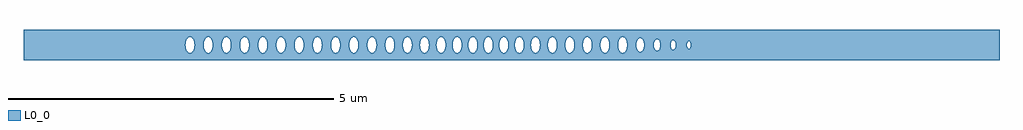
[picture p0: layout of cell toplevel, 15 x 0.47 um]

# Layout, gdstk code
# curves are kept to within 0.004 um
import gdstk
lib = gdstk.Library(unit=1e-6, precision=1e-09)
def P(c, l, *ps):  # polygons
    for p in ps: c.add(gdstk.Polygon(p, *l))
L0_0 = (0, 0)

toplevel = lib.new_cell('toplevel')
P(toplevel, L0_0, [(-4.441,-0.066),(-4.452,0.008),(-4.438,0.072),(-4.438,0.235),(-7.5,0.235),(-7.5,-0.016),(-5.011,-0.016),(-5.008,0.038),(-4.998,0.073),(-4.975,0.109),(-4.945,0.124),(-4.919,0.118),(-4.889,0.085),(-4.875,0.046),(-4.87,0),(-4.732,0),(-4.727,0.046),(-4.712,0.085),(-4.695,0.109),(-4.666,0.124),(-4.639,0.118),(-4.616,0.096),(-4.599,0.06),(-4.591,0.016),(-4.594,-0.038),(-4.604,-0.073),(-4.627,-0.109),(-4.657,-0.124),(-4.683,-0.118),(-4.706,-0.096),(-4.727,-0.046),(-4.732,0),(-4.87,0),(-4.875,-0.046),(-4.889,-0.085),(-4.907,-0.109),(-4.936,-0.124),(-4.963,-0.118),(-4.986,-0.096),(-5.003,-0.06),(-5.011,-0.016),(-7.5,-0.016),(-7.5,-0.235),(-4.438,-0.235)],
  [(-3.891,0.023),(-3.884,0.06),(-3.867,0.096),(-3.844,0.118),(-3.818,0.124),(-3.818,0.235),(-4.438,0.235),(-4.438,0.073),(-4.423,0.1),(-4.403,0.118),(-4.377,0.124),(-4.355,0.115),(-4.336,0.096),(-4.324,0.073),(-4.313,0.031),(-4.312,-0.016),(-4.172,-0.016),(-4.169,0.038),(-4.159,0.073),(-4.136,0.109),(-4.106,0.124),(-4.08,0.118),(-4.053,0.09),(-4.036,0.046),(-4.031,0.008),(-4.033,-0.031),(-4.047,-0.079),(-4.068,-0.109),(-4.097,-0.124),(-4.123,-0.118),(-4.147,-0.096),(-4.159,-0.073),(-4.172,-0.016),(-4.312,-0.016),(-4.32,-0.06),(-4.336,-0.096),(-4.355,-0.115),(-4.377,-0.124),(-4.395,-0.122),(-4.415,-0.109),(-4.438,-0.074),(-4.438,-0.235),(-3.818,-0.235),(-3.818,-0.124),(-3.835,-0.122),(-3.856,-0.109),(-3.879,-0.073),(-3.892,-0.016)],
  [(-3.331,0.031),(-3.308,0.096),(-3.276,0.122),(-3.249,0.122),(-3.229,0.109),(-3.201,0.06),(-3.201,0.235),(-3.818,0.235),(-3.818,0.124),(-3.788,0.109),(-3.771,0.085),(-3.756,0.046),(-3.752,-0.008),(-3.613,-0.008),(-3.611,0.031),(-3.597,0.079),(-3.576,0.109),(-3.547,0.124),(-3.521,0.118),(-3.497,0.096),(-3.485,0.073),(-3.472,0.016),(-3.475,-0.038),(-3.485,-0.073),(-3.508,-0.109),(-3.538,-0.124),(-3.564,-0.118),(-3.591,-0.09),(-3.608,-0.046),(-3.613,-0.008),(-3.752,-0.008),(-3.756,-0.046),(-3.777,-0.096),(-3.8,-0.118),(-3.818,-0.124),(-3.818,-0.235),(-3.201,-0.235),(-3.201,-0.06),(-3.218,-0.096),(-3.241,-0.118),(-3.267,-0.124),(-3.289,-0.115),(-3.308,-0.096),(-3.324,-0.06),(-3.333,-0.016)],
  [(-2.493,-0.023),(-2.492,0.235),(-3.201,0.235),(-3.201,0.059),(-3.193,0.023),(-3.193,-0.016),(-3.053,-0.016),(-3.05,0.038),(-3.04,0.073),(-3.017,0.109),(-2.987,0.124),(-2.961,0.118),(-2.938,0.096),(-2.917,0.046),(-2.913,-0.008),(-2.774,-0.008),(-2.769,0.046),(-2.758,0.079),(-2.737,0.109),(-2.708,0.124),(-2.681,0.118),(-2.658,0.096),(-2.641,0.06),(-2.633,0.016),(-2.636,-0.038),(-2.646,-0.073),(-2.669,-0.109),(-2.699,-0.124),(-2.725,-0.118),(-2.748,-0.096),(-2.765,-0.06),(-2.774,-0.008),(-2.913,-0.008),(-2.917,-0.046),(-2.938,-0.096),(-2.961,-0.118),(-2.978,-0.124),(-3.005,-0.118),(-3.028,-0.096),(-3.045,-0.06),(-3.053,-0.016),(-3.193,-0.016),(-3.201,-0.06),(-3.201,-0.235),(-2.492,-0.235)],
  [(-2.492,-0.235),(-1.907,-0.235),(-1.907,-0.105),(-1.929,-0.066),(-1.94,-0.008),(-1.931,0.06),(-1.907,0.105),(-1.907,0.235),(-2.492,0.235),(-2.492,0.031),(-2.481,0.073),(-2.465,0.1),(-2.445,0.118),(-2.419,0.124),(-2.39,0.109),(-2.369,0.079),(-2.356,0.038),(-2.354,-0.016),(-2.215,-0.016),(-2.212,0.038),(-2.196,0.085),(-2.171,0.115),(-2.14,0.124),(-2.111,0.109),(-2.093,0.085),(-2.079,0.046),(-2.074,0.008),(-2.076,-0.031),(-2.09,-0.079),(-2.111,-0.109),(-2.14,-0.124),(-2.166,-0.118),(-2.19,-0.096),(-2.202,-0.073),(-2.215,-0.016),(-2.354,-0.016),(-2.358,-0.046),(-2.375,-0.09),(-2.39,-0.109),(-2.419,-0.124),(-2.437,-0.122),(-2.461,-0.105),(-2.481,-0.073),(-2.492,-0.034)],
  [(-1.407,0.016),(-1.397,0.066),(-1.375,0.105),(-1.342,0.124),(-1.315,0.118),(-1.315,0.235),(-1.907,0.235),(-1.907,0.105),(-1.874,0.124),(-1.856,0.122),(-1.831,0.105),(-1.805,0.053),(-1.799,-0.008),(-1.67,-0.008),(-1.667,0.038),(-1.657,0.073),(-1.634,0.109),(-1.604,0.124),(-1.578,0.118),(-1.551,0.09),(-1.534,0.046),(-1.529,0.008),(-1.531,-0.031),(-1.545,-0.079),(-1.566,-0.109),(-1.595,-0.124),(-1.621,-0.118),(-1.645,-0.096),(-1.665,-0.046),(-1.67,-0.008),(-1.799,-0.008),(-1.812,-0.073),(-1.835,-0.109),(-1.856,-0.122),(-1.874,-0.124),(-1.907,-0.105),(-1.907,-0.235),(-1.315,-0.235),(-1.315,-0.118),(-1.35,-0.122),(-1.382,-0.096),(-1.403,-0.046)],
  [(-0.774,-0.06),(-0.787,-0.09),(-0.809,-0.115),(-0.831,-0.124),(-0.857,-0.118),(-0.89,-0.079),(-0.904,-0.031),(-0.906,0.008),(-0.901,0.046),(-0.887,0.085),(-0.869,0.109),(-0.84,0.124),(-0.822,0.122),(-0.801,0.109),(-0.778,0.073),(-0.767,0.031),(-0.767,0.235),(-1.315,0.235),(-1.315,0.118),(-1.292,0.096),(-1.275,0.06),(-1.267,-0.016),(-1.153,-0.016),(-1.15,0.038),(-1.14,0.073),(-1.117,0.109),(-1.087,0.124),(-1.061,0.118),(-1.034,0.09),(-1.017,0.046),(-1.012,0.008),(-1.014,-0.031),(-1.028,-0.079),(-1.049,-0.109),(-1.078,-0.124),(-1.104,-0.118),(-1.128,-0.096),(-1.14,-0.073),(-1.153,-0.016),(-1.267,-0.016),(-1.28,-0.073),(-1.292,-0.096),(-1.315,-0.118),(-1.315,-0.235),(-0.767,-0.235),(-0.767,-0.034)],
  [(-0.767,-0.031),(-0.767,-0.235),(-0.178,-0.235),(-0.178,-0.066),(-0.189,-0.016),(-0.187,0.031),(-0.178,0.066),(-0.178,0.235),(-0.767,0.235),(-0.766,-0.016),(-0.664,-0.016),(-0.661,0.038),(-0.651,0.073),(-0.628,0.109),(-0.598,0.124),(-0.572,0.118),(-0.543,0.085),(-0.528,0.046),(-0.524,-0.016),(-0.426,-0.016),(-0.423,0.038),(-0.407,0.085),(-0.378,0.118),(-0.351,0.124),(-0.322,0.109),(-0.304,0.085),(-0.29,0.046),(-0.285,0),(-0.29,-0.046),(-0.304,-0.085),(-0.338,-0.12),(-0.369,-0.122),(-0.394,-0.105),(-0.418,-0.06),(-0.426,-0.016),(-0.524,-0.016),(-0.532,-0.06),(-0.549,-0.096),(-0.572,-0.118),(-0.59,-0.124),(-0.616,-0.118),(-0.639,-0.096),(-0.656,-0.06),(-0.664,-0.016),(-0.766,-0.016)],
  [(-0.17,0.085),(-0.14,0.118),(-0.123,0.124),(-0.105,0.122),(-0.081,0.105),(-0.064,0.079),(-0.05,0.031),(-0.049,-0.016),(0.051,-0.016),(0.054,0.038),(0.07,0.085),(0.099,0.118),(0.126,0.124),(0.155,0.109),(0.173,0.085),(0.187,0.046),(0.192,0),(0.187,-0.046),(0.173,-0.085),(0.155,-0.109),(0.126,-0.124),(0.099,-0.118),(0.076,-0.096),(0.059,-0.06),(0.051,-0.016),(-0.049,-0.016),(-0.067,-0.085),(-0.085,-0.109),(-0.105,-0.122),(-0.132,-0.122),(-0.153,-0.109),(-0.178,-0.067),(-0.178,-0.235),(0.356,-0.235),(0.356,-0.122),(0.335,-0.109),(0.318,-0.085),(0.305,-0.053),(0.299,-0.016),(0.302,0.038),(0.312,0.073),(0.331,0.105),(0.356,0.122),(0.356,0.235),(-0.178,0.235),(-0.178,0.066)],
  [(0.826,0.016),(0.841,0.079),(0.874,0.118),(0.891,0.124),(0.909,0.122),(0.93,0.109),(0.944,0.09),(0.944,0.235),(0.356,0.235),(0.356,0.122),(0.387,0.12),(0.414,0.096),(0.435,0.046),(0.439,-0.016),(0.558,-0.016),(0.561,0.038),(0.571,0.073),(0.594,0.109),(0.624,0.124),(0.65,0.118),(0.677,0.09),(0.694,0.046),(0.699,0.008),(0.697,-0.031),(0.683,-0.079),(0.662,-0.109),(0.633,-0.124),(0.607,-0.118),(0.583,-0.096),(0.571,-0.073),(0.558,-0.016),(0.439,-0.016),(0.431,-0.06),(0.411,-0.1),(0.387,-0.12),(0.356,-0.122),(0.356,-0.235),(0.944,-0.235),(0.944,-0.09),(0.93,-0.109),(0.909,-0.122),(0.882,-0.122),(0.862,-0.109),(0.834,-0.06),(0.826,-0.023)],
  [(0.944,0.235),(0.944,0.09),(0.963,0.038),(0.966,-0.008),(1.095,-0.008),(1.097,0.031),(1.111,0.079),(1.132,0.109),(1.161,0.124),(1.187,0.118),(1.214,0.09),(1.231,0.046),(1.236,0.008),(1.233,-0.038),(1.223,-0.073),(1.2,-0.109),(1.17,-0.124),(1.144,-0.118),(1.117,-0.09),(1.1,-0.046),(1.095,-0.008),(0.966,-0.008),(0.961,-0.046),(0.944,-0.09),(0.944,-0.235),(1.505,-0.235),(1.505,-0.026),(1.495,-0.066),(1.477,-0.1),(1.457,-0.118),(1.431,-0.124),(1.405,-0.112),(1.384,-0.085),(1.368,-0.038),(1.365,-0.008),(1.368,0.038),(1.378,0.073),(1.405,0.112),(1.431,0.124),(1.457,0.118),(1.48,0.096),(1.495,0.066),(1.505,0.023),(1.505,0.235)],
  [(2.188,0.017),(2.196,0.054),(2.208,0.074),(2.208,0.235),(1.505,0.235),(1.505,-0.016),(1.638,-0.016),(1.641,0.038),(1.651,0.073),(1.674,0.109),(1.704,0.124),(1.73,0.118),(1.759,0.085),(1.774,0.046),(1.778,-0.014),(1.918,-0.014),(1.929,0.064),(1.949,0.095),(1.975,0.108),(1.997,0.103),(2.02,0.079),(2.035,0.04),(2.039,0.007),(2.03,-0.058),(2.008,-0.095),(1.993,-0.105),(1.975,-0.108),(1.949,-0.095),(1.929,-0.064),(1.918,-0.014),(1.778,-0.014),(1.77,-0.06),(1.753,-0.096),(1.73,-0.118),(1.713,-0.124),(1.686,-0.118),(1.663,-0.096),(1.646,-0.06),(1.638,-0.016),(1.505,-0.016),(1.505,-0.235),(2.208,-0.235),(2.208,-0.074),(2.19,-0.034)],
  [(2.213,0.081),(2.241,0.092),(2.265,0.078),(2.282,0.044),(2.288,0),(2.444,0),(2.449,0.037),(2.459,0.059),(2.475,0.074),(2.488,0.076),(2.505,0.067),(2.52,0.041),(2.525,-0.011),(2.695,-0.011),(2.703,0.041),(2.722,0.06),(2.737,0.056),(2.747,0.044),(2.756,-0.011),(2.747,-0.044),(2.729,-0.06),(2.707,-0.049),(2.695,-0.011),(2.525,-0.011),(2.511,-0.059),(2.5,-0.071),(2.483,-0.076),(2.47,-0.071),(2.455,-0.052),(2.444,0),(2.288,0),(2.282,-0.044),(2.262,-0.081),(2.234,-0.092),(2.208,-0.074),(2.208,-0.235),(7.5,-0.235),(7.5,0.235),(2.208,0.235),(2.208,0.074)])

lib.write_gds('toplevel.gds')
